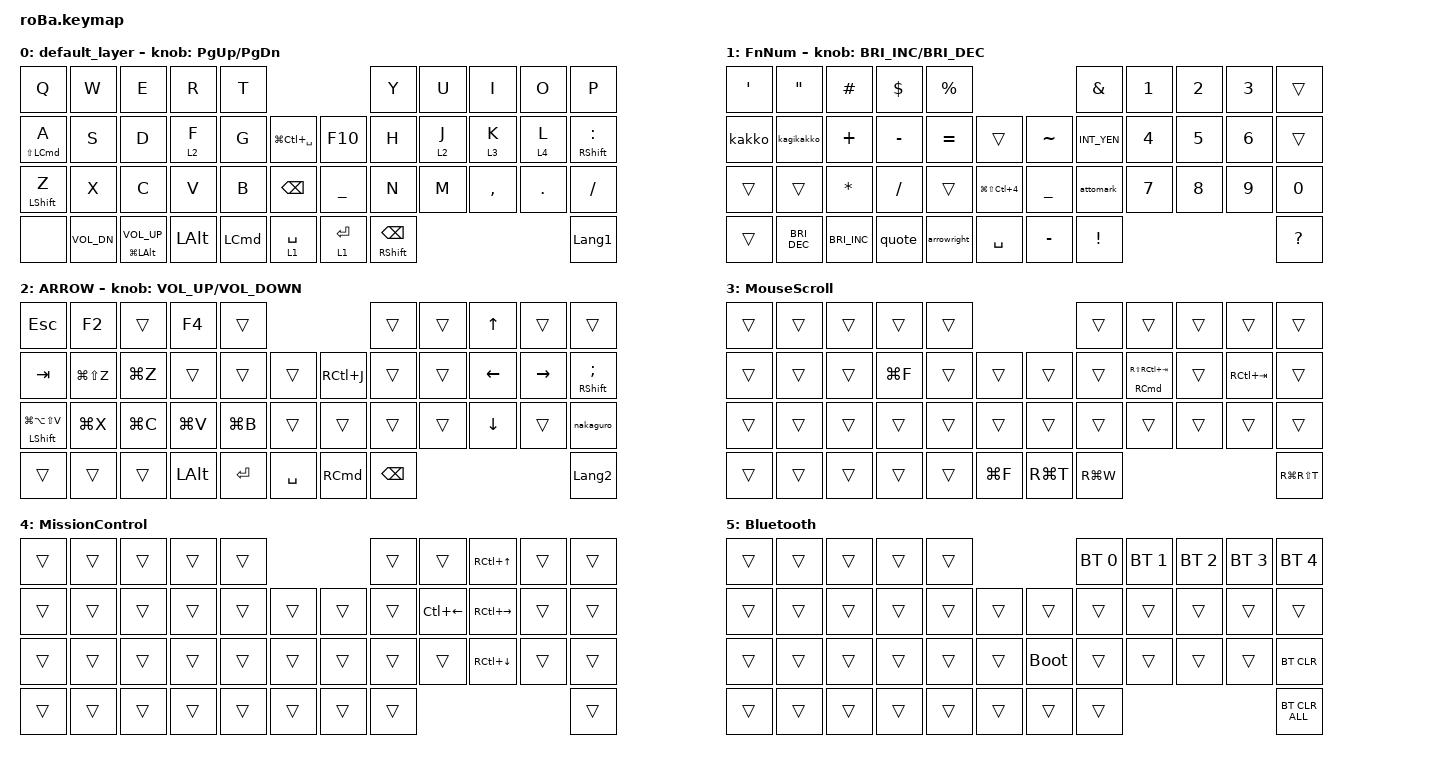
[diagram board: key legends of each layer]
#include <behaviors.dtsi>
#include <dt-bindings/zmk/bt.h>
#include <dt-bindings/zmk/keys.h>
#include <dt-bindings/zmk/pointing.h>

#define MOUSE 4
#define SCROLL 5
#define NUM 6

&mt {
    flavor = "balanced";
    quick-tap-ms = <0>;
};

/ {
    combos {
        compatible = "zmk,combos";

        double_quotation {
            bindings = <&kp DOUBLE_QUOTES>;
            key-positions = <20 21>;
        };

        eq {
            bindings = <&kp EQUAL>;
            key-positions = <24 25>;
        };

        Click {
            bindings = <&mkp MB1>;
            key-positions = <18 19>;
        };

        Click2 {
            bindings = <&mkp MB2>;
            key-positions = <19 20>;
        };

        esc {
            bindings = <&kp ESCAPE>;
            key-positions = <1 0>;
        };
    };

    macros {
        to_layer_0: to_layer_0 {
            compatible = "zmk,behavior-macro-one-param";
            #binding-cells = <1>;
            bindings = <&to 0 &macro_param_1to1 &kp MACRO_PLACEHOLDER>;
            label = "TO_LAYER_0";
        };

        attomark: attomark {
            compatible = "zmk,behavior-macro";
            #binding-cells = <0>;
            bindings = <&kp LANGUAGE_2 &kp AT>;
            label = "ATTOMARK";
        };

        kakko: kakko {
            compatible = "zmk,behavior-macro";
            #binding-cells = <0>;
            bindings = <&kp LANGUAGE_1 &kp LEFT_PARENTHESIS &kp RIGHT_PARENTHESIS>;
            label = "KAKKO";
        };

        kagikakko: kagikakko {
            compatible = "zmk,behavior-macro";
            #binding-cells = <0>;
            bindings = <&kp LANGUAGE_1 &kp LEFT_BRACKET &kp RIGHT_BRACKET>;
            label = "KAGIKAKKO";
        };

        nakaguro: nakaguro {
            compatible = "zmk,behavior-macro";
            #binding-cells = <0>;
            bindings = <&kp LANGUAGE_2 &kp MINUS &kp SPACE &kp LANGUAGE_1>;
            label = "NAKAGURO";
        };

        arrowright: arrowright {
            compatible = "zmk,behavior-macro";
            #binding-cells = <0>;
            bindings = <&kp LANGUAGE_1 &kp Z &kp L &kp ENTER>;
            label = "ARROWRIGHT";
        };

        quote: quote {
            compatible = "zmk,behavior-macro";
            #binding-cells = <0>;
            bindings = <&kp LANGUAGE_2 &kp GREATER_THAN &kp LANGUAGE_1>;
            label = "QUOTE";
        };
    };

    behaviors {
        lt_to_layer_0: lt_to_layer_0 {
            compatible = "zmk,behavior-hold-tap";
            label = "LAYER_TAP_TO_0";
            bindings = <&mo>, <&to_layer_0>;

            #binding-cells = <2>;
            tapping-term-ms = <200>;
        };
    };

    keymap {
        compatible = "zmk,keymap";

        default_layer {
            bindings = <
&kp Q                   &kp W         &kp E                      &kp R         &kp T                                                 &kp Y                 &kp U    &kp I      &kp O    &kp P
&mt LS(LEFT_COMMAND) A  &kp S         &kp D                      &lt 2 F       &kp G             &kp LG(LC(SPACE))      &kp F10      &kp H                 &lt 2 J  &lt 3 K    &lt 4 L  &mt RIGHT_SHIFT COLON
&mt LEFT_SHIFT Z        &kp X         &kp C                      &kp V         &kp B             &kp BACKSPACE          &kp UNDER    &kp N                 &kp M    &kp COMMA  &kp DOT  &kp SLASH
&none                   &kp C_VOL_DN  &mt LG(LEFT_ALT) C_VOL_UP  &kp LEFT_ALT  &kp LEFT_COMMAND  &lt 1 SPACE            &lt 1 ENTER  &mt RSHIFT BACKSPACE                               &kp LANGUAGE_1
            >;

            sensor-bindings = <&inc_dec_kp PAGE_UP PAGE_DOWN>;
        };

        FnNum {
            bindings = <
&kp SINGLE_QUOTE  &kp DOUBLE_QUOTES     &kp HASH              &kp DOLLAR  &kp PERCENT                                                &kp AMPERSAND  &kp NUMBER_1  &kp NUMBER_2  &kp NUMBER_3  &trans
&kakko            &kagikakko            &kp PLUS              &kp MINUS   &kp EQUAL    &trans                        &kp TILDE       &kp INT_YEN    &kp NUMBER_4  &kp NUMBER_5  &kp NUMBER_6  &trans
&trans            &trans                &kp ASTERISK          &kp SLASH   &trans       &kp LG(LS(LC(NUMBER_4)))      &kp UNDERSCORE  &attomark      &kp NUMBER_7  &kp NUMBER_8  &kp NUMBER_9  &kp NUMBER_0
&trans            &kp C_BRIGHTNESS_DEC  &kp C_BRIGHTNESS_INC  &quote      &arrowright  &kp SPACE                     &kp MINUS       &kp EXCL                                                 &kp QUESTION
            >;

            sensor-bindings = <&inc_dec_kp C_BRIGHTNESS_INC C_BRIGHTNESS_DEC>;
        };

        ARROW {
            bindings = <
&kp ESCAPE                    &kp F2         &trans     &kp F4        &trans                                       &trans         &trans  &kp UP_ARROW    &trans           &trans
&kp TAB                       &kp LG(LS(Z))  &kp LG(Z)  &trans        &trans     &trans         &kp RC(J)          &trans         &trans  &kp LEFT_ARROW  &kp RIGHT_ARROW  &mt RIGHT_SHIFT SEMICOLON
&mt LEFT_SHIFT LG(LA(LS(V)))  &kp LG(X)      &kp LG(C)  &kp LG(V)     &kp LG(B)  &trans         &trans             &trans         &trans  &kp DOWN_ARROW  &trans           &nakaguro
&trans                        &trans         &trans     &kp LEFT_ALT  &kp ENTER  &kp SPACE      &kp RIGHT_COMMAND  &kp BACKSPACE                                           &kp LANGUAGE_2
            >;

            sensor-bindings = <&inc_dec_kp K_VOLUME_UP K_VOLUME_DOWN>;
        };

        MouseScroll {
            bindings = <
&trans  &trans  &trans  &trans     &trans                            &trans     &trans                         &trans  &trans       &trans
&trans  &trans  &trans  &kp LG(F)  &trans  &trans         &trans     &trans     &mt RIGHT_COMMAND RS(RC(TAB))  &trans  &kp RC(TAB)  &trans
&trans  &trans  &trans  &trans     &trans  &trans         &trans     &trans     &trans                         &trans  &trans       &trans
&trans  &trans  &trans  &trans     &trans  &kp LG(F)      &kp RG(T)  &kp RG(W)                                                      &kp RG(RS(T))
            >;
        };

        MissionControl {
            bindings = <
&trans  &trans  &trans  &trans  &trans                      &trans  &trans              &kp RC(UP_ARROW)     &trans  &trans
&trans  &trans  &trans  &trans  &trans  &trans      &trans  &trans  &kp LC(LEFT_ARROW)  &kp RC(RIGHT_ARROW)  &trans  &trans
&trans  &trans  &trans  &trans  &trans  &trans      &trans  &trans  &trans              &kp RC(DOWN_ARROW)   &trans  &trans
&trans  &trans  &trans  &trans  &trans  &trans      &trans  &trans                                                   &trans
            >;
        };

        Bluetooth {
            bindings = <
&trans  &trans  &trans  &trans  &trans                           &bt BT_SEL 0  &bt BT_SEL 1  &bt BT_SEL 2  &bt BT_SEL 3  &bt BT_SEL 4
&trans  &trans  &trans  &trans  &trans  &trans      &trans       &trans        &trans        &trans        &trans        &trans
&trans  &trans  &trans  &trans  &trans  &trans      &bootloader  &trans        &trans        &trans        &trans        &bt BT_CLR
&trans  &trans  &trans  &trans  &trans  &trans      &trans       &trans                                                  &bt BT_CLR_ALL
            >;
        };
    };
};
